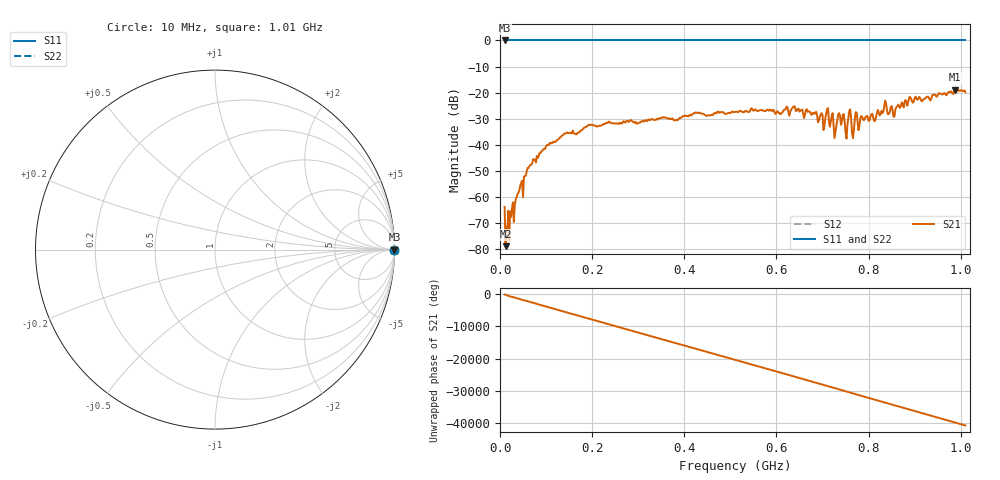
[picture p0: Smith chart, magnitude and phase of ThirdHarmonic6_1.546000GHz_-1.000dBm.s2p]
! 8/16/2025 6:20:46 PM
! C:\ANRITSUVNA\TEMP\TEMP.S2P
! CHANNEL.1
! TR.MEASUREMENT
! RAW.DATA
! RF.CORRECTION.OFF
! AVERAGING.OFF
! IF.BANDWIDTH: 5KHZ
! SWEEPTYPE:  FREQ.SWEEP(Linear)
! Reference Plane Port Info
! PORT:  PORT1  PORT2
! DISTANCE:  0  m  0  m
! TIME:  0  s  0  s
! PHASE.OFFSET:  0  deg.  0  deg.
! LOSS:  0  dB  0  dB
! REF.LOSS:  0  dB  0  dB
! REF.FREQ:  0  Hz  0  Hz
! Power Info
! POWER:  -20  dBm  -20  dBm
! EFF.POWER:  -20  dBm  -20  dBm
! SOURCE.ATTEN:  0  dB  0  dB
! TEST.ATTEN:  0  dB  0  dB
# GHZ S RI R 50.0
! FREQ.GHZ  S11RE  S11IM  S21RE  S21IM  S12RE  S12IM  S22RE  S22IM
!; PortSelection: Port_12
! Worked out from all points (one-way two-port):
!   501 points, 10 MHz to 1.01 GHz, reference 50 ohm
!   highest |S21| = -18.83 dB at 988 MHz (marker M1); lowest = -78.9 dB at 12 MHz (marker M2)
!   lowest |S11| = 0.0 dB at 10 MHz (marker M3)
!   |S11| at or under -10 dB: nowhere
!   |S22| runs from 0.0 to 0.0 dB; largest |S21 - S12| = 1.1
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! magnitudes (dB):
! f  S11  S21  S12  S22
! 10 MHz  0.0  -63.9  0.0  0.0
! 12 MHz  0.0  -78.9  0.0  0.0
! 16 MHz  0.0  -72.6  0.0  0.0
! 44 MHz  0.0  -55.6  0.0  0.0
! 70 MHz  0.0  -47.0  0.0  0.0
! 106 MHz  0.0  -40.1  0.0  0.0
! 178 MHz  0.0  -34.3  0.0  0.0
! 344 MHz  0.0  -30.1  0.0  0.0
! 510 MHz  0.0  -27.4  0.0  0.0
! 678 MHz  0.0  -28.0  0.0  0.0
! 702 MHz  0.0  -34.4  0.0  0.0
! 710 MHz  0.0  -26.3  0.0  0.0
! 728 MHz  0.0  -35.2  0.0  0.0
! 736 MHz  0.0  -27.9  0.0  0.0
! 752 MHz  0.0  -37.6  0.0  0.0
! 758 MHz  0.0  -27.0  0.0  0.0
! 766 MHz  0.0  -37.5  0.0  0.0
! 772 MHz  0.0  -27.5  0.0  0.0
! 844 MHz  0.0  -28.2  0.0  0.0
! 890 MHz  0.0  -21.7  0.0  0.0
! 988 MHz  0.0  -18.8  0.0  0.0
! 1.01 GHz  0.0  -19.8  0.0  0.0
